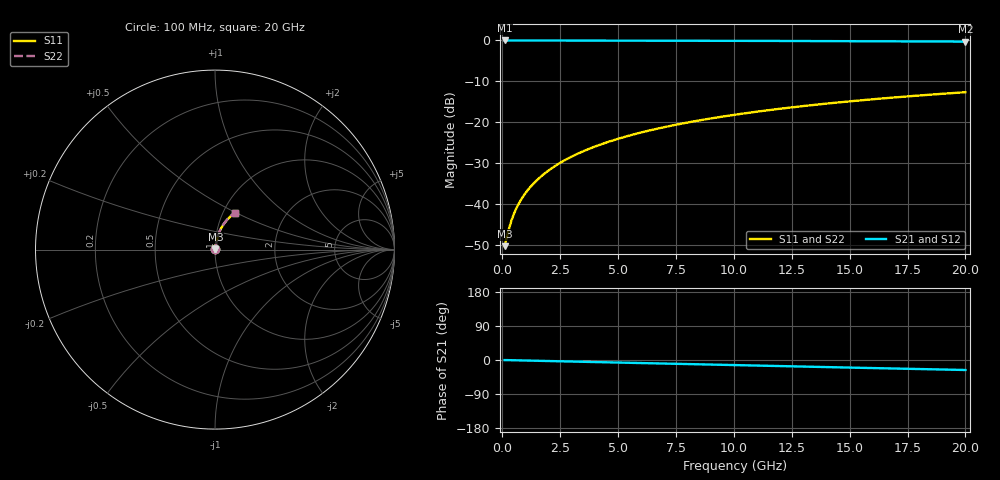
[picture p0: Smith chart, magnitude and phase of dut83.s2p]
! Touchstone file exported from HFSS 2026.1.0
!  File:  C:/ffzhzh/LocalFiles/Ansys_Project_Files/temp_train_TMRDL_83_1782881409_43084.aedt
!  Generated:  12:51:21 PM Jul  1, 2026
!  Design:  TMRDL
!  Project:  temp_train_TMRDL_83_1782881409_43084
! Variables:
!  h_bsmrdl = 2um
!  h_ox = 20um
!  h_rdl = 5um
!  h_sub = 80um
!  h_tmrdl = 2.15um
!  h_tsv = 80um
!  h_via = 3um
!  l_bsmrdl = 300um
!  l_sub = 766.85um
!  l_tmrdl = 366.85um
!  m_sub = 200um
!  pitch = 47.55um
!  r_tsv = 6um
!  s_tmrdl = 10um
!  w_bsmrdl = 18um
!  w_sub = 500um
!  w_tmrdl = 26.6um
!  x_tsv_center1 = 380.15um
!  x_tsv_center2 = 698.15um
!  x_tsv_center3 = 1091.6um
!  x_tsv_center4 = 1409.6um
!  x_tsv_center5 = 1803.05um
!  x_tsv_center6 = 2121.05um
# GHz S MA R 50.000000
! Terminal data exported
! Port[1] = TM_RDL1_1_T1
! Port[2] = TM_RDL1_1_T2
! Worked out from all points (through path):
!   200 points, 100 MHz to 20 GHz, reference 50 ohm
!   highest |S21| = -0.02 dB at 100 MHz (marker M1); lowest = -0.3 dB at 20 GHz (marker M2)
!   group delay of S21, straight-line fit = 3.67 ps
!   lowest |S11| = -50.4 dB at 100 MHz (marker M3), VSWR 1.01, Z = 50.3 + j0.144 ohm
!   |S11| at or under -10 dB: start of sweep to end of sweep
!   |S22| runs from -50.4 to -12.7 dB; largest |S21 - S12| = 2.1e-15
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0.1  0.003034 28.1  0.9973 -0.1  0.9973 -0.1  0.003034 28.1
! Gamma 0 0 0 0
! Port Impedance 50 0 50 0
0.3  0.005098 55.4  0.9971 -0.4  0.9971 -0.4  0.005098 55.4
0.4  0.006299 61.1  0.997 -0.6  0.997 -0.6  0.006298 61.1
0.5  0.00751 64.9  0.9969 -0.7  0.9969 -0.7  0.007508 64.9
0.6  0.008717 67.5  0.9968 -0.8  0.9968 -0.8  0.008715 67.5
0.8  0.01112 71.1  0.9966 -1.1  0.9966 -1.1  0.01111 71.2
1.1  0.01471 74.5  0.9964 -1.5  0.9964 -1.5  0.01471 74.5
1.3  0.01712 76.0  0.9963 -1.8  0.9963 -1.8  0.01711 76.0
1.6  0.02075 77.5  0.9961 -2.2  0.9961 -2.2  0.02075 77.5
2.1  0.02685 79.0  0.9959 -2.9  0.9959 -2.9  0.02684 79.0
2.7  0.03421 79.8  0.9956 -3.7  0.9956 -3.7  0.03421 79.8
3.5  0.04405 80.0  0.9951 -4.8  0.9951 -4.8  0.04405 80.1
4.2  0.05266 79.8  0.9945 -5.7  0.9945 -5.7  0.05266 79.9
5  0.06248 79.3  0.9938 -6.8  0.9938 -6.8  0.06247 79.4
5.9  0.07347 78.5  0.9929 -8.0  0.9929 -8.0  0.07346 78.6
6.8  0.0844 77.7  0.9919 -9.2  0.9919 -9.2  0.08439 77.8
8.3  0.1024 76.0  0.9899 -11.2  0.9899 -11.2  0.1024 76.2
10.1  0.1237 73.9  0.9871 -13.6  0.9871 -13.6  0.1237 74.1
11.7  0.1423 71.9  0.9842 -15.7  0.9842 -15.7  0.1423 72.1
13.4  0.1616 69.8  0.9808 -17.9  0.9808 -17.9  0.1616 70.1
16.7  0.1978 65.7  0.9734 -22.2  0.9734 -22.2  0.1978 66.0
20  0.2322 61.6  0.9652 -26.4  0.9652 -26.4  0.2321 62.0
